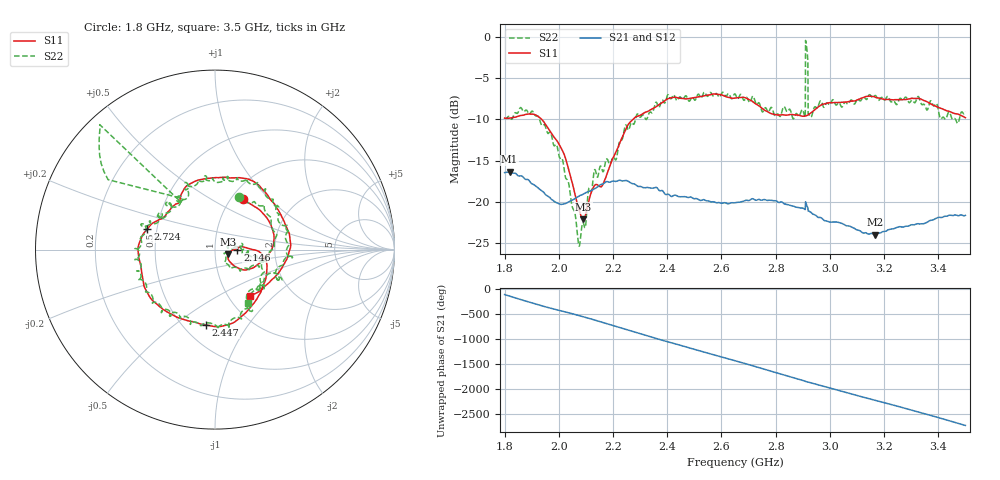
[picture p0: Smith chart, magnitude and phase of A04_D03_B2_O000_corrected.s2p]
! Created with skrf 1.9.0 (http://scikit-rf.org).
# Hz S RI R 50.0
!freq ReS11 ImS11 ReS21 ImS21 ReS12 ImS12 ReS22 ImS22
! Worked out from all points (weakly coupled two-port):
!   1601 points, 1.8 GHz to 3.5 GHz, reference 50 ohm
!   highest |S21| = -16.36 dB at 1.818 GHz (marker M1); lowest = -24.0 dB at 3.165 GHz (marker M2)
!   lowest |S11| = -22.1 dB at 2.09 GHz (marker M3), VSWR 1.17, Z = 57.9 - j3.18 ohm
!   |S11| at or under -10 dB: 1.936 GHz to 2.274 GHz (337.7 MHz wide, 16 % of centre)
!   |S22| runs from -25.4 to -0.5 dB; largest |S21 - S12| = 0.0026
!   S11 on the Smith chart (normalised r, x): 1.8 GHz: 1.13, +0.71; 2.146 GHz: 1.29, +0.00; 2.447 GHz: 0.64, -0.66; 2.724 GHz: 0.44, +0.12; 3.5 GHz: 1.26, -0.72
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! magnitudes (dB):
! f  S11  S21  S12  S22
! 1.8 GHz  -9.9  -16.5  -16.5  -9.8
! 1.818 GHz  -9.9  -16.4  -16.4  -9.7
! 1.903 GHz  -9.4  -17.8  -17.8  -9.0
! 1.968 GHz  -11.5  -19.5  -19.6  -11.5
! 2.015 GHz  -13.9  -20.3  -20.3  -15.0
! 2.072 GHz  -20.6  -19.4  -19.4  -25.0
! 2.084 GHz  -21.8  -19.2  -19.1  -23.2
! 2.09 GHz  -22.1  -19.1  -19.1  -22.5
! 2.146 GHz  -18.0  -18.1  -18.1  -16.6
! 2.259 GHz  -10.5  -17.6  -17.6  -11.2
! 2.367 GHz  -8.3  -18.5  -18.5  -8.6
! 2.447 GHz  -7.5  -19.4  -19.4  -7.3
! 2.65 GHz  -7.4  -20.1  -20.1  -6.9
! 2.724 GHz  -8.1  -19.8  -19.7  -7.9
! 2.884 GHz  -9.5  -20.7  -20.7  -9.6
! 2.901 GHz  -9.6  -20.8  -20.8  -9.0
! 2.91 GHz  -9.6  -20.0  -19.9  -0.5
! 2.919 GHz  -9.5  -20.7  -20.7  -3.0
! 2.934 GHz  -9.1  -21.4  -21.4  -9.6
! 3.165 GHz  -7.3  -24.0  -23.9  -7.2
! 3.217 GHz  -7.6  -23.4  -23.3  -7.4
! 3.5 GHz  -9.8  -21.6  -21.6  -9.1
